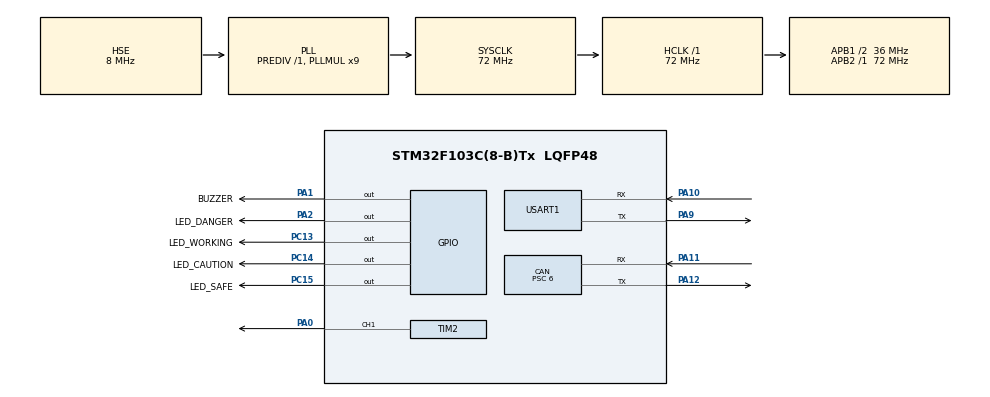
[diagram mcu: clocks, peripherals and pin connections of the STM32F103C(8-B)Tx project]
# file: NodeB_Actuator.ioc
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CAN.BS1=CAN_BS1_9TQ
CAN.BS2=CAN_BS2_2TQ
CAN.CalculateBaudRate=499999
CAN.CalculateTimeBit=2000
CAN.CalculateTimeQuantum=166.66666666666669
CAN.Prescaler=6
Mcu.Family=STM32F1
Mcu.Name=STM32F103C(8-B)Tx
Mcu.Package=LQFP48
NVIC.PriorityGroup=NVIC_PRIORITYGROUP_4
NVIC.USB_LP_CAN1_RX0_IRQn=true\:0\:0\:false\:false\:true\:true\:true\:true
PA0-WKUP.Signal=S_TIM2_CH1_ETR
PA1.GPIO_Label=BUZZER
PA1.Signal=GPIO_Output
PA10.Mode=Asynchronous
PA10.Signal=USART1_RX
PA11.Mode=CAN_Activate
PA11.Signal=CAN_RX
PA12.Mode=CAN_Activate
PA12.Signal=CAN_TX
PA13.Mode=Serial_Wire
PA13.Signal=SYS_JTMS-SWDIO
PA14.Mode=Serial_Wire
PA14.Signal=SYS_JTCK-SWCLK
PA2.GPIO_Label=LED_DANGER
PA2.Signal=GPIO_Output
PA9.Mode=Asynchronous
PA9.Signal=USART1_TX
PC13-TAMPER-RTC.GPIO_Label=LED_WORKING
PC13-TAMPER-RTC.Signal=GPIO_Output
PC14-OSC32_IN.GPIO_Label=LED_CAUTION
PC14-OSC32_IN.Signal=GPIO_Output
PC15-OSC32_OUT.GPIO_Label=LED_SAFE
PC15-OSC32_OUT.Signal=GPIO_Output
PD0-OSC_IN.Mode=HSE-External-Oscillator
PD0-OSC_IN.Signal=RCC_OSC_IN
PD1-OSC_OUT.Mode=HSE-External-Oscillator
PD1-OSC_OUT.Signal=RCC_OSC_OUT
ProjectManager.HeapSize=0x200
ProjectManager.StackSize=0x400
ProjectManager.TargetToolchain=MDK-ARM V5.32
RCC.AHBFreq_Value=72000000
RCC.APB1CLKDivider=RCC_HCLK_DIV2
RCC.APB1Freq_Value=36000000
RCC.APB1TimFreq_Value=72000000
RCC.APB2Freq_Value=72000000
RCC.APB2TimFreq_Value=72000000
RCC.HCLKFreq_Value=72000000
RCC.PLLMUL=RCC_PLL_MUL9
RCC.PLLSourceVirtual=RCC_PLLSOURCE_HSE
RCC.SYSCLKFreq_VALUE=72000000
RCC.SYSCLKSource=RCC_SYSCLKSOURCE_PLLCLK
RCC.USBFreq_Value=72000000
SH.S_TIM2_CH1_ETR.0=TIM2_CH1,PWM Generation1 CH1
TIM2.AutoReloadPreload=TIM_AUTORELOAD_PRELOAD_ENABLE
TIM2.Channel-PWM\ Generation1\ CH1=TIM_CHANNEL_1
TIM2.Period=19999
TIM2.Prescaler=71
USART1.VirtualMode=VM_ASYNC
VP_TIM2_VS_ClockSourceINT.Mode=Internal
board=custom

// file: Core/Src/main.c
/* USER CODE BEGIN Header */
/**
  ******************************************************************************
  * @file           : main.c
  * @brief          : Main program body
  ******************************************************************************
  * @attention
  *
  * Copyright (c) 2026 STMicroelectronics.
  * All rights reserved.
  *
  * This software is licensed under terms that can be found in the LICENSE file
  * in the root directory of this software component.
  * If no LICENSE file comes with this software, it is provided AS-IS.
  *
  ******************************************************************************
  */
/* USER CODE END Header */
#include "main.h"
#include "can.h"
#include "tim.h"
#include "usart.h"
#include "gpio.h"

/* USER CODE BEGIN Includes */
#include "stdio.h"
#include "string.h"

/* USER CODE END Includes */

/* USER CODE BEGIN PD */
#define UDS_SERVICE_ECU_RESET    (0x11) /*!< UDS Service ID for ECU Reset */
#define UDS_SERVICE_IO_CONTROL   (0x2F) /*!< UDS Service ID for Input/Output Control */
/* USER CODE END PD */

/* USER CODE BEGIN PM */
#ifdef __GNUC__
#define PUTCHAR_PROTOTYPE int __io_putchar(int ch)
#else
#define PUTCHAR_PROTOTYPE int fputc(int ch, FILE *f)
#endif /* __GNUC__ */
/* USER CODE END PM */

/* USER CODE BEGIN PV */
CAN_RxHeaderTypeDef RxHeader;             /**< CAN Rx header structure */
uint8_t             RxData[8];            /**< CAN Rx payload data array */

volatile uint8_t    uds_rx_flag = 0;      /**< Flag indicating a new UDS request was received */
uint8_t             uds_rx_data[8];       /**< UDS Rx payload data array */
uint8_t             uds_dlc = 0;          /**< UDS Data Length Code (Payload size) */

volatile uint8_t    new_command_flag = 0; /**< Flag indicating a new manual command arrived */
uint8_t             cmd_warning_level = 0;/**< Warning state -> 0: Safe, 1: Caution, 2: Warning, 3: Danger */
uint16_t            buzzer_interval = 0;  /**< Buzzer toggle interval in ms (0 = Off, 1 = Constant On) */
uint32_t            prev_tick_buzzer = 0; /**< Timer tracker for non-blocking buzzer execution */

char                uart_buf[128];        /**< Buffer for UART transmission */
/* USER CODE END PV */

void SystemClock_Config(void);
/* USER CODE BEGIN PFP */
/**
 * @brief  Retargets the C library printf function to the USART.
 * @param[in] ch Character to be transmitted
 * @return Transmitted character
 */
PUTCHAR_PROTOTYPE;

/* USER CODE END PFP */

int main(void)
{

  /* MCU Configuration--------------------------------------------------------*/

  /* Reset of all peripherals, Initializes the Flash interface and the Systick. */
  HAL_Init();

  /* Configure the system clock */
  SystemClock_Config();

  /* Initialize all configured peripherals */
  MX_GPIO_Init();
  MX_CAN_Init();
  MX_USART1_UART_Init();
  MX_TIM2_Init();
  /* USER CODE BEGIN 2 */
  CAN_FilterTypeDef canfilterconfig;

  canfilterconfig.FilterBank = 0;
  canfilterconfig.FilterMode = CAN_FILTERMODE_IDLIST;
  canfilterconfig.FilterScale = CAN_FILTERSCALE_16BIT;

  /* Slot 1: Accept Control Command (0x450) */
  canfilterconfig.FilterIdHigh = 0x450 << 5;
  /* Slot 2: Accept UDS Request (0x7E0) */
  canfilterconfig.FilterIdLow = 0x7E0 << 5;

  /* Slot 3 & 4: Duplicate to safely fill all slots */
  canfilterconfig.FilterMaskIdHigh = 0x450 << 5;
  canfilterconfig.FilterMaskIdLow = 0x7E0 << 5;

  canfilterconfig.FilterFIFOAssignment = CAN_RX_FIFO0;
  canfilterconfig.FilterActivation = ENABLE;
  canfilterconfig.SlaveStartFilterBank = 14;

  if (HAL_CAN_ConfigFilter(&hcan, &canfilterconfig) != HAL_OK)
  {
    Error_Handler();
  }

  if (HAL_CAN_Start(&hcan) != HAL_OK)
  {
    Error_Handler();
  }

  if (HAL_CAN_ActivateNotification(&hcan, CAN_IT_RX_FIFO0_MSG_PENDING) != HAL_OK)
  {
    Error_Handler();
  }
  /* USER CODE END 2 */

  /* Infinite loop */
  /* USER CODE BEGIN WHILE */

  /* Diagnostic override timer for UDS 0x2F command */
  uint32_t buzzer_test_timeout = 0;

  while (1)
  {
    /* USER CODE END WHILE */

    /* USER CODE BEGIN 3 */

    /* --- STEP 1: PROCESS APPLICATION COMMANDS --- */
//    if (new_command_flag)
//    {
//      new_command_flag = 0;
//      HAL_GPIO_WritePin(LED_WORKING_GPIO_Port, LED_CAUTION_Pin | LED_SAFE_Pin, GPIO_PIN_RESET);

//      switch (cmd_warning_level)
//      {
//        case 0: /* SAFE */
//          HAL_GPIO_WritePin(LED_SAFE_GPIO_Port, LED_SAFE_Pin, GPIO_PIN_SET);
//          buzzer_interval = 0;
//          break;
//        case 1: /* CAUTION */
//          HAL_GPIO_WritePin(LED_SAFE_GPIO_Port, LED_SAFE_Pin, GPIO_PIN_SET);
//          HAL_GPIO_WritePin(LED_CAUTION_GPIO_Port, LED_CAUTION_Pin, GPIO_PIN_SET);
//          buzzer_interval = 1000;
//          break;
//        case 2: /* WARNING */
//          HAL_GPIO_WritePin(LED_CAUTION_GPIO_Port, LED_CAUTION_Pin, GPIO_PIN_SET);
//          buzzer_interval = 500;
//          break;
//        case 3: /* DANGER */
//          HAL_GPIO_WritePin(LED_CAUTION_GPIO_Port, LED_CAUTION_Pin, GPIO_PIN_SET);
//          buzzer_interval = 200;
//          break;
//      }
//    }

		if (new_command_flag)
    {
      new_command_flag = 0;
      HAL_GPIO_WritePin(LED_CAUTION_GPIO_Port, LED_CAUTION_Pin | LED_SAFE_Pin, GPIO_PIN_RESET);
			HAL_GPIO_WritePin(LED_DANGER_GPIO_Port, LED_DANGER_Pin, GPIO_PIN_RESET);

      switch (cmd_warning_level)
      {
        case 0: /* SAFE */
          HAL_GPIO_WritePin(LED_SAFE_GPIO_Port, LED_SAFE_Pin, GPIO_PIN_SET);
          buzzer_interval = 0;
          break;
        case 1: /* CAUTION */
					HAL_GPIO_WritePin(LED_SAFE_GPIO_Port, LED_SAFE_Pin, GPIO_PIN_SET);
          HAL_GPIO_WritePin(LED_CAUTION_GPIO_Port, LED_CAUTION_Pin, GPIO_PIN_SET);
          buzzer_interval = 1000;
          break;
        case 2: /* WARNING */
          HAL_GPIO_WritePin(LED_CAUTION_GPIO_Port, LED_CAUTION_Pin, GPIO_PIN_SET);
          buzzer_interval = 500;
          break;
        case 3: /* DANGER */
          HAL_GPIO_WritePin(LED_DANGER_GPIO_Port, LED_DANGER_Pin, GPIO_PIN_SET);
          buzzer_interval = 200;
          break;
      }
    }

    /* --- STEP 2: ACTUATOR CONTROL LAYER (OVERRIDE) --- */
    if (buzzer_test_timeout > 0 && (HAL_GetTick() - buzzer_test_timeout < 2000))
    {
      HAL_GPIO_WritePin(BUZZER_GPIO_Port, BUZZER_Pin, GPIO_PIN_SET);
    }
    else
    {
      if (buzzer_test_timeout > 0) buzzer_test_timeout = 0;

      if (buzzer_interval == 0)      HAL_GPIO_WritePin(BUZZER_GPIO_Port, BUZZER_Pin, GPIO_PIN_RESET);
      else if (buzzer_interval == 1) HAL_GPIO_WritePin(BUZZER_GPIO_Port, BUZZER_Pin, GPIO_PIN_SET);
      else
      {
        if (HAL_GetTick() - prev_tick_buzzer >= buzzer_interval)
        {
          HAL_GPIO_TogglePin(BUZZER_GPIO_Port, BUZZER_Pin);
          prev_tick_buzzer = HAL_GetTick();
        }
      }
    }

    /* --- STEP 3: UDS DIAGNOSTIC SERVICE ROUTER --- */
    if (uds_rx_flag == 1)
    {
      uds_rx_flag = 0;

      /* Service 0x11: ECU Reset */
      if (uds_rx_data[1] == UDS_SERVICE_ECU_RESET && uds_rx_data[2] == 0x01)
      {
          printf("\r\n[NODE B] Nhan lenh ECU RESET tu Gateway!\r\n");

          CAN_TxHeaderTypeDef UdsTxHeader = {0x7E8, 0, CAN_ID_STD, CAN_RTR_DATA, 8, DISABLE};
          uint8_t UdsTxData[8] = {0x02, 0x51, 0x01, 0x55, 0x55, 0x55, 0x55, 0x55};
          uint32_t UdsTxMailbox;

          if (HAL_CAN_GetTxMailboxesFreeLevel(&hcan) == 0) {
              HAL_CAN_AbortTxRequest(&hcan, CAN_TX_MAILBOX0 | CAN_TX_MAILBOX1 | CAN_TX_MAILBOX2);
          }
          HAL_CAN_AddTxMessage(&hcan, &UdsTxHeader, UdsTxData, &UdsTxMailbox);

          printf("[NODE B] Da gui Response. Chuan bi Reset chip...\r\n");

          HAL_Delay(100);
          NVIC_SystemReset();
      }
      /* Service 0x2F: IO Control (Test Buzzer) */
      else if (uds_rx_data[1] == UDS_SERVICE_IO_CONTROL && uds_rx_data[2] == 0x01)
      {
          printf("\r\n[NODE B] Nhan lenh IO CONTROL (0x2F)! Ep coi keu 2 giay.\r\n");

          buzzer_test_timeout = HAL_GetTick();
          if(buzzer_test_timeout == 0) buzzer_test_timeout = 1;

          CAN_TxHeaderTypeDef UdsTxHeader = {0x7E8, 0, CAN_ID_STD, CAN_RTR_DATA, 8, DISABLE};
          uint8_t UdsTxData[8] = {0x02, 0x6F, 0x01, 0x55, 0x55, 0x55, 0x55, 0x55};
          uint32_t UdsTxMailbox;

          if (HAL_CAN_GetTxMailboxesFreeLevel(&hcan) == 0) {
              HAL_CAN_AbortTxRequest(&hcan, CAN_TX_MAILBOX0 | CAN_TX_MAILBOX1 | CAN_TX_MAILBOX2);
          }
          HAL_CAN_AddTxMessage(&hcan, &UdsTxHeader, UdsTxData, &UdsTxMailbox);

          printf("[NODE B] Da gui Response UDS IO Control.\r\n");
      }
    }

    HAL_Delay(10);
  }
  /* USER CODE END 3 */
}

void SystemClock_Config(void)
{
  RCC_OscInitTypeDef RCC_OscInitStruct = {0};
  RCC_ClkInitTypeDef RCC_ClkInitStruct = {0};

  /** Initializes the RCC Oscillators according to the specified parameters
  * in the RCC_OscInitTypeDef structure.
  */
  RCC_OscInitStruct.OscillatorType = RCC_OSCILLATORTYPE_HSE;
  RCC_OscInitStruct.HSEState = RCC_HSE_ON;
  RCC_OscInitStruct.HSEPredivValue = RCC_HSE_PREDIV_DIV1;
  RCC_OscInitStruct.HSIState = RCC_HSI_ON;
  RCC_OscInitStruct.PLL.PLLState = RCC_PLL_ON;
  RCC_OscInitStruct.PLL.PLLSource = RCC_PLLSOURCE_HSE;
  RCC_OscInitStruct.PLL.PLLMUL = RCC_PLL_MUL9;
  if (HAL_RCC_OscConfig(&RCC_OscInitStruct) != HAL_OK)
  {
    Error_Handler();
  }

  /** Initializes the CPU, AHB and APB buses clocks
  */
  RCC_ClkInitStruct.ClockType = RCC_CLOCKTYPE_HCLK|RCC_CLOCKTYPE_SYSCLK
                              |RCC_CLOCKTYPE_PCLK1|RCC_CLOCKTYPE_PCLK2;
  RCC_ClkInitStruct.SYSCLKSource = RCC_SYSCLKSOURCE_PLLCLK;
  RCC_ClkInitStruct.AHBCLKDivider = RCC_SYSCLK_DIV1;
  RCC_ClkInitStruct.APB1CLKDivider = RCC_HCLK_DIV2;
  RCC_ClkInitStruct.APB2CLKDivider = RCC_HCLK_DIV1;

  if (HAL_RCC_ClockConfig(&RCC_ClkInitStruct, FLASH_LATENCY_2) != HAL_OK)
  {
    Error_Handler();
  }
}

/* USER CODE BEGIN 4 */

/* Retargets the C library printf function to the USART */
PUTCHAR_PROTOTYPE
{
  /* Timeout lowered to 10ms to prevent system hang */
  HAL_UART_Transmit(&huart1, (uint8_t *)&ch, 1, 10);
  return ch;
}

/* CAN RX interrupt callback (Executed when message arrives) */
void HAL_CAN_RxFifo0MsgPendingCallback(CAN_HandleTypeDef *hcan)
{
    if (HAL_CAN_GetRxMessage(hcan, CAN_RX_FIFO0, &RxHeader, RxData) == HAL_OK)
    {
      HAL_GPIO_TogglePin(LED_WORKING_GPIO_Port, LED_WORKING_Pin);

      /* Branch 1: Application Layer (Normal Control) */
      if (RxHeader.StdId == 0x450)
      {
        new_command_flag = 1;
        cmd_warning_level = RxData[0];
      }
      /* Branch 2: Diagnostic Layer (UDS Requests) */
      else if (RxHeader.StdId == 0x7E0)
      {
        uds_rx_flag = 1;
        uds_dlc = RxHeader.DLC;

        /* Safely copy payload without <string.h> */
        for(uint8_t i = 0; i < RxHeader.DLC; i++)
        {
          uds_rx_data[i] = RxData[i];
        }
      }
    }
}

/* USER CODE END 4 */

void Error_Handler(void)
{
  __disable_irq();
  while (1)
  {
  }
}
